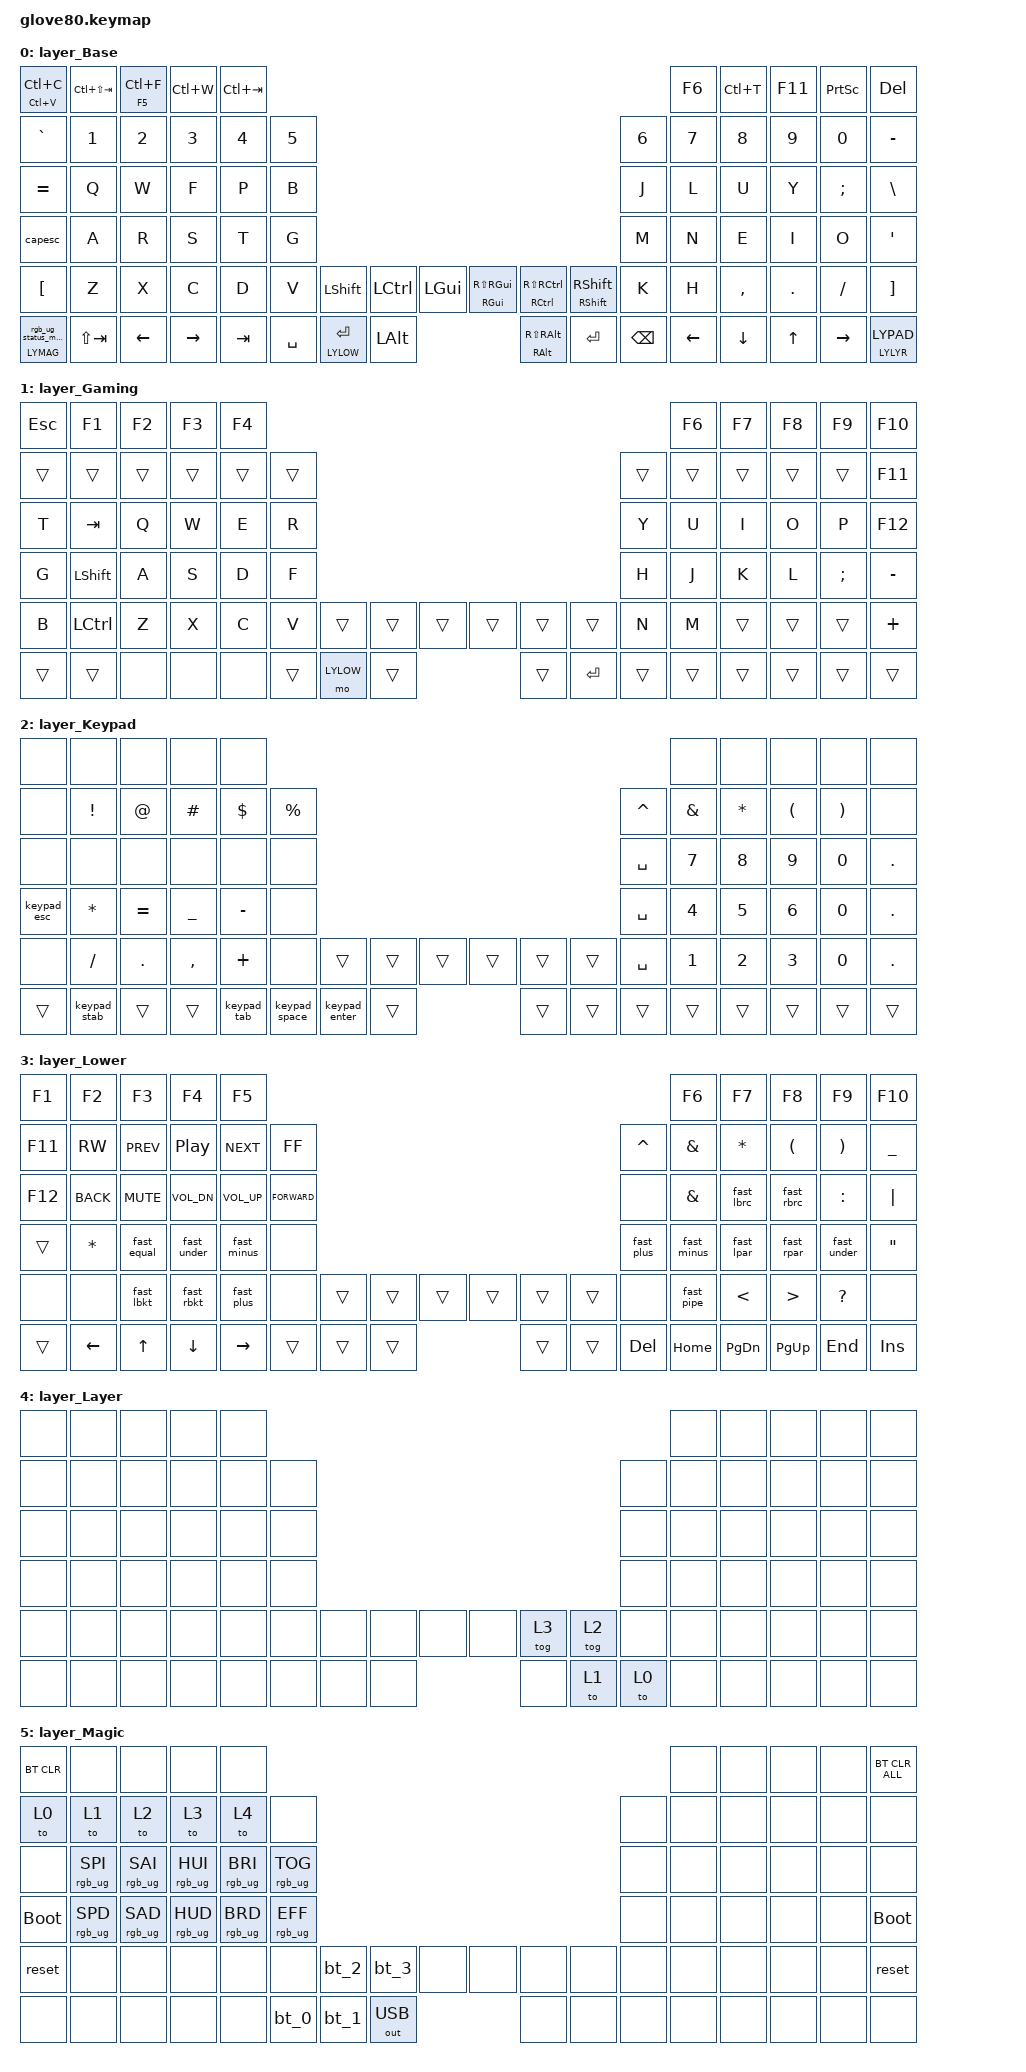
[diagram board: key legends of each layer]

/*
 * Copyright (c) 2020 The ZMK Contributors
 * Copyright (c) 2022 Innaworks Development Limited, trading as MoErgo
 *
 * SPDX-License-Identifier: MIT
 */


/* THIS FILE WAS GENERATED BY GLOVE80 LAYOUT EDITOR
 *
 * This file was generated automatically. You may or may not want to
 * edit it directly.
 */

#include <behaviors.dtsi>
/* Include all behaviour includes needed by system behaviors/macros */
#include <dt-bindings/zmk/outputs.h>

/* Include behaviour includes needed by key binds - automatically generated */
#include <dt-bindings/zmk/keys.h>
#include <dt-bindings/zmk/bt.h>
#include <dt-bindings/zmk/rgb.h>
#include <dt-bindings/zmk/outputs.h>


/ {
    /* Glove80 system behavior & macros */
    behaviors {
        // For the "layer" key, it'd nice to be able to use it as either a shift or a toggle.
        // Configure it as a tap dance, so the first tap (or hold) is a &mo and the second tap is a &to
        lower: tap_dance_0 {
            compatible = "zmk,behavior-tap-dance";
            label = "LAYER_TAP_DANCE";
            #binding-cells = <0>;
            tapping-term-ms = <200>;
            bindings = <&mo 1>, <&to 1>;
        };
    };
};

/ {
    macros {
        rgb_ug_status_macro: rgb_ug_status_macro_0 {
            label = "RGB_UG_STATUS";
            compatible = "zmk,behavior-macro";
            #binding-cells = <0>;
            bindings
                = <&rgb_ug RGB_STATUS>;
        };

        bt_0: bt_profile_macro_0 {
            label = "BT_0";
            compatible = "zmk,behavior-macro";
            #binding-cells = <0>;
            bindings
                = <&out OUT_BLE>,
                  <&bt BT_SEL 0>;
        };

        bt_1: bt_profile_macro_1 {
            label = "BT_1";
            compatible = "zmk,behavior-macro";
            #binding-cells = <0>;
            bindings
                = <&out OUT_BLE>,
                  <&bt BT_SEL 1>;
        };

        bt_2: bt_profile_macro_2 {
            label = "BT_2";
            compatible = "zmk,behavior-macro";
            #binding-cells = <0>;
            bindings
                = <&out OUT_BLE>,
                  <&bt BT_SEL 2>;
        };

        bt_3: bt_profile_macro_3 {
            label = "BT_3";
            compatible = "zmk,behavior-macro";
            #binding-cells = <0>;
            bindings
                = <&out OUT_BLE>,
                  <&bt BT_SEL 3>;
        };
    };
};

/ {
    magic: magic_hold_tap {
        compatible = "zmk,behavior-hold-tap";
        label = "MAGIC_HOLD_TAP";
        #binding-cells = <2>;
        flavor = "tap-preferred";
        tapping-term-ms = <200>;
        bindings = <&mo>, <&rgb_ug_status_macro>;
    };
};

    /* Custom Defined Behaviors */
/ {
    #define LYBAS 0
    #define LYGAM 1
    #define LYPAD 2
    #define LYLOW 3
    #define LYLYR 4
    #define LYMAG 5
    #define TD_TERM 200
    #define HT_TERM 200
    #define COMBO_TIME 50
    #define FAST_WAIT 1
    #define FAST_TAP 10

    #define TD_SHIFT_MOD(name, key) TD_DEFINE(name, <&kp key>, <&kp LS(key)>)
    #define TD_DEFINE(name, beh1, beh2) TD_DEFINE_1(td_##name, tap_##name, beh1, beh2)
    #define TD_DEFINE_1(shortname, longname, beh1, beh2) shortname: longname { \
        compatible = "zmk,behavior-tap-dance"; \
        label = #shortname; \
        #binding-cells = <0>; \
        tapping-term-ms = <TD_TERM>; \
        bindings = beh1, beh2; \
    };
    #define FAST_SYM(name, key) ZMK_MACRO(fast_##name, \
        wait-ms = <FAST_WAIT>; \
        tap-ms = <FAST_TAP>; \
        bindings = <&kp key>; \
    )
    #define HT_DEFINE(name, beh1, beh2) HT_DEFINE_1(ht_##name, behavior_ht_##name, beh1, beh2)
    #define HT_DEFINE_1(shortname, longname, beh1, beh2) \
        shortname: longname { \
            compatible = "zmk,behavior-hold-tap"; \
            label = #shortname; \
            #binding-cells = <2>; \
            flavor = "hold-preferred"; \
            tapping-term-ms = <HT_TERM>; \
            quick-tap-ms = <100>; \
            bindings = beh1, beh2; \
        };

    skq: sticky_key_quick_release {
        compatible = "zmk,behavior-sticky-key";
        label = "STICKY_KEY_QUICK_RELEASE";
        #binding-cells = <1>;
        bindings = <&kp>;
        release-after-ms = <1000>;
        quick-release;
        ignore-modifiers;
    };

    slpar: shift_lpar {
        compatible = "zmk,behavior-mod-morph";
        label = "SHIFT_LPAR";
        #binding-cells = <0>;
        bindings = <&kp LPAR>, <&kp RPAR>;
        mods = <(MOD_RSFT)>;
    };

    srpar: shift_rpar {
        compatible = "zmk,behavior-mod-morph";
        label = "SHIFT_RPAR";
        #binding-cells = <0>;
        bindings = <&kp RPAR>, <&kp LPAR>;
        mods = <(MOD_LSFT)>;
    };

    TD_SHIFT_MOD(gui, LGUI)
    TD_SHIFT_MOD(rgui, LGUI)
    TD_SHIFT_MOD(ctrl, LCTRL)
    TD_SHIFT_MOD(rctrl, RCTRL)
    TD_SHIFT_MOD(alt, LALT)
    TD_SHIFT_MOD(ralt, RALT)
    TD_DEFINE(caps_word, <&kp RSHFT>, <&caps_word>)
    TD_DEFINE(caps_lock, <&kp RSHFT>, <&kp CAPS>)
    TD_DEFINE(alt_sgui, <&kp LALT>, <&kp LS(LGUI)>)
    TD_DEFINE(rshft_lower, <&kp RSHFT>, <&mo 4>)
    FAST_SYM(lbkt, LBKT)
    FAST_SYM(rbkt, RBKT)
    FAST_SYM(lbrc, LBRC)
    FAST_SYM(rbrc, RBRC)
    FAST_SYM(lpar, LPAR)
    FAST_SYM(rpar, RPAR)
    FAST_SYM(equal, EQUAL)
    FAST_SYM(plus, PLUS)
    FAST_SYM(under, UNDER)
    FAST_SYM(minus, MINUS)
    FAST_SYM(bslh, BSLH)
    FAST_SYM(pipe, PIPE)
    FAST_SYM(grave, GRAVE)
    FAST_SYM(tilde, TILDE)
    FAST_SYM(sqt, SQT)
    FAST_SYM(dqt, DQT)
    HT_DEFINE(kp, <&kp>, <&kp>)
    HT_DEFINE(mo, <&mo>, <&kp>)
    HT_DEFINE(tog, <&kp>, <&tog>)
    HT_DEFINE(kp_sl, <&kp>, <&sl>)
    HT_DEFINE(skq, <&kp>, <&skq>)
    HT_DEFINE(mo_skq, <&mo>, <&skq>)
    HT_DEFINE(mo_sl, <&mo>, <&sl>)
    HT_DEFINE(mo_repeat, <&mo>, <&key_repeat>)
    HT_DEFINE(mo_tog, <&mo>, <&tog>)
    HT_DEFINE(lpar_cadet, <&kp>, <&slpar>)
    HT_DEFINE(rpar_cadet, <&kp>, <&srpar>)

    ZMK_MACRO(keypad_space,
        wait-ms = <FAST_WAIT>;
        tap-ms = <FAST_TAP>;
        bindings = <&kp SPACE>, <&tog LYPAD>;
    )
    ZMK_MACRO(keypad_enter,
        wait-ms = <FAST_WAIT>;
        tap-ms = <FAST_TAP>;
        bindings = <&kp ENTER>, <&tog LYPAD>;
    )
    ZMK_MACRO(keypad_tab,
        wait-ms = <FAST_WAIT>;
        tap-ms = <FAST_TAP>;
        bindings = <&kp TAB>, <&tog LYPAD>;
    )
    ZMK_MACRO(keypad_stab,
        wait-ms = <FAST_WAIT>;
        tap-ms = <FAST_TAP>;
        bindings = <&kp LS(TAB)>, <&tog LYPAD>;
    )
    ZMK_MACRO(keypad_esc,
        wait-ms = <FAST_WAIT>;
        tap-ms = <FAST_TAP>;
        bindings = <&kp ESC>, <&tog LYPAD>;
    )

    td_layers: tap_dance_layers {
        compatible = "zmk,behavior-tap-dance";
        label = "td_layers";
        #binding-cells = <0>;
        tapping-term-ms = <TD_TERM>;
        bindings = <&tog LYPAD>, <&tog LYGAM>;
    };

    captab: caps_tab {
        compatible = "zmk,behavior-mod-morph";
        label = "CAPS_TAB";
        #binding-cells = <0>;
        bindings = <&kp CAPS>, <&kp TAB>;
        mods = <(MOD_LSFT|MOD_RSFT|MOD_LCTL|MOD_RCTL|MOD_LALT|MOD_RALT|MOD_LGUI|MOD_RGUI)>;
        keep-mods = <(MOD_LSFT|MOD_RSFT|MOD_LCTL|MOD_RCTL|MOD_LALT|MOD_RALT|MOD_LGUI|MOD_RGUI)>;
    };

    capesc: caps_esc {
        compatible = "zmk,behavior-mod-morph";
        label = "CAPS_ESC";
        #binding-cells = <0>;
        bindings = <&kp ESC>, <&kp CAPS>;
        mods = <(MOD_LSFT|MOD_RSFT)>;
    };

    n8lpar: eight_lpar {
        compatible = "zmk,behavior-mod-morph";
        label = "EIGHT_LPAR";
        #binding-cells = <0>;
        bindings = <&kp N8>, <&kp LPAR>;
        mods = <(MOD_LSFT|MOD_RSFT)>;
    };

    n9rpar: nine_rpar {
        compatible = "zmk,behavior-mod-morph";
        label = "NINE_RPAR";
        #binding-cells = <0>;
        bindings = <&kp N9>, <&kp RPAR>;
        mods = <(MOD_LSFT|MOD_RSFT)>;
    };

    n0astrk: zero_astrk {
        compatible = "zmk,behavior-mod-morph";
        label = "ZERO_ASTRK";
        #binding-cells = <0>;
        bindings = <&kp N0>, <&kp ASTRK>;
        mods = <(MOD_LSFT|MOD_RSFT)>;
    };

    td_kp_tab: tap_dance_keypad_tab {
        compatible = "zmk,behavior-tap-dance";
        label = "td_keypad_tab";
        #binding-cells = <0>;
        tapping-term-ms = <TD_TERM>;
        bindings = <&keypad_tab>, <&kp TAB>;
    };

    td_kp_stab: tap_dance_keypad_stab {
        compatible = "zmk,behavior-tap-dance";
        label = "td_keypad_stab";
        #binding-cells = <0>;
        tapping-term-ms = <TD_TERM>;
        bindings = <&keypad_stab>, <&kp LS(TAB)>;
    };

    /* 0, 10, 22, 34, 46, 64, (80) */
    combos {
        compatible = "zmk,combos";
        // combo_space_enter {
        //     timeout-ms = <COMBO_TIME>;
        //     key-positions = <69 70>;
        //     bindings = <&mo LYLOW>;
        // };

        combo_caps {
            timeout-ms = <COMBO_TIME>;
            key-positions = <52 57>;
            bindings = <&kp CAPS>;
        };
    };

};

    /* Automatically generated keymap */
/ {
    keymap {
        compatible = "zmk,keymap";


        layer_Base {
            bindings = <
 &ht_kp LC(V) LC(C)  &kp LC(LS(TAB))  &ht_kp F5 LC(F)  &kp LC(W)  &kp LC(TAB)                                                                                                                                  &kp F6  &kp LC(T)  &kp F11  &kp PSCRN                 &kp DEL
          &kp GRAVE           &kp N1           &kp N2     &kp N3       &kp N4  &kp N5                                                                                                                &kp N6    &kp N7     &kp N8   &kp N9     &kp N0               &kp MINUS
          &kp EQUAL            &kp Q            &kp W      &kp F        &kp P   &kp B                                                                                                                 &kp J     &kp L      &kp U    &kp Y   &kp SEMI                &kp BSLH
            &capesc            &kp A            &kp R      &kp S        &kp T   &kp G                                                                                                                 &kp M     &kp N      &kp E    &kp I      &kp O                 &kp SQT
           &kp LBKT            &kp Z            &kp X      &kp C        &kp D   &kp V  &kp LSHFT           &kp LCTRL  &kp LGUI  &ht_skq RGUI RS(RGUI)  &ht_skq RCTRL RS(RCTRL)  &ht_skq RSHFT RSHFT   &kp K     &kp H  &kp COMMA  &kp DOT   &kp FSLH                &kp RBKT
     &magic LYMAG 0      &kp LS(TAB)         &kp LEFT  &kp RIGHT      &kp TAB          &kp SPACE  &ht_mo LYLOW ENTER  &kp LALT  &ht_skq RALT RS(RALT)                  &kp RET             &kp BSPC          &kp LEFT   &kp DOWN   &kp UP  &kp RIGHT  &ht_mo_tog LYLYR LYPAD
            >;
        };

        layer_Gaming {
            bindings = <
 &kp ESC     &kp F1  &kp F2  &kp F3  &kp F4                                                                      &kp F6  &kp F7  &kp F8    &kp F9    &kp F10
  &trans     &trans  &trans  &trans  &trans  &trans                                                      &trans  &trans  &trans  &trans    &trans    &kp F11
   &kp T    &kp TAB   &kp Q   &kp W   &kp E   &kp R                                                       &kp Y   &kp U   &kp I   &kp O     &kp P    &kp F12
   &kp G  &kp LSHFT   &kp A   &kp S   &kp D   &kp F                                                       &kp H   &kp J   &kp K   &kp L  &kp SEMI  &kp MINUS
   &kp B  &kp LCTRL   &kp Z   &kp X   &kp C   &kp V  &trans     &trans  &trans  &trans   &trans  &trans   &kp N   &kp M  &trans  &trans    &trans   &kp PLUS
  &trans     &trans   &none   &none   &none          &trans  &mo LYLOW  &trans  &trans  &kp RET  &trans          &trans  &trans  &trans    &trans     &trans
            >;
        };

        layer_Keypad {
            bindings = <
       &none         &none      &none      &none        &none                                                                                         &none     &none     &none     &none    &none
       &none      &kp EXCL     &kp AT   &kp HASH     &kp DLLR  &kp PRCNT                                                                &kp CARET  &kp AMPS  &kp STAR  &kp LPAR  &kp RPAR    &none
       &none         &none      &none      &none        &none      &none                                                                &kp SPACE    &kp N7    &kp N8    &kp N9    &kp N0  &kp DOT
 &keypad_esc      &kp STAR  &kp EQUAL  &kp UNDER    &kp MINUS      &none                                                                &kp SPACE    &kp N4    &kp N5    &kp N6    &kp N0  &kp DOT
       &none      &kp FSLH    &kp DOT  &kp COMMA     &kp PLUS      &none         &trans         &trans  &trans  &trans  &trans  &trans  &kp SPACE    &kp N1    &kp N2    &kp N3    &kp N0  &kp DOT
      &trans  &keypad_stab     &trans     &trans  &keypad_tab             &keypad_space  &keypad_enter  &trans  &trans  &trans  &trans               &trans    &trans    &trans    &trans   &trans
            >;
        };

        layer_Lower {
            bindings = <
  &kp F1      &kp F2       &kp F3        &kp F4        &kp F5                                                                                   &kp F6      &kp F7      &kp F8       &kp F9    &kp F10
 &kp F11    &kp C_RW   &kp C_PREV      &kp C_PP    &kp C_NEXT       &kp C_FF                                                    &kp CARET     &kp AMPS    &kp STAR    &kp LPAR     &kp RPAR  &kp UNDER
 &kp F12  &kp K_BACK   &kp C_MUTE  &kp C_VOL_DN  &kp C_VOL_UP  &kp K_FORWARD                                                        &none     &kp AMPS  &fast_lbrc  &fast_rbrc    &kp COLON   &kp PIPE
  &trans    &kp STAR  &fast_equal   &fast_under   &fast_minus          &none                                                   &fast_plus  &fast_minus  &fast_lpar  &fast_rpar  &fast_under    &kp DQT
   &none       &none   &fast_lbkt    &fast_rbkt    &fast_plus          &none  &trans  &trans  &trans  &trans  &trans   &trans       &none   &fast_pipe      &kp LT      &kp GT    &kp QMARK      &none
  &trans    &kp LEFT       &kp UP      &kp DOWN     &kp RIGHT                 &trans  &trans  &trans  &trans  &trans  &kp DEL                 &kp HOME   &kp PG_DN   &kp PG_UP      &kp END    &kp INS
            >;
        };

        layer_Layer {
            bindings = <
  &none   &none   &none   &none   &none                                                                   &none   &none   &none   &none   &none
  &none   &none   &none   &none   &none   &none                                                   &none   &none   &none   &none   &none   &none
  &none   &none   &none   &none   &none   &none                                                   &none   &none   &none   &none   &none   &none
  &none   &none   &none   &none   &none   &none                                                   &none   &none   &none   &none   &none   &none
  &none   &none   &none   &none   &none   &none   &none   &none   &none   &none  &tog 3  &tog 2   &none   &none   &none   &none   &none   &none
  &none   &none   &none   &none   &none           &none   &none   &none   &none   &to 1   &to 0           &none   &none   &none   &none   &none
            >;
        };

        layer_Magic {
            bindings = <
  &bt BT_CLR            &none            &none            &none            &none                                                                                  &none   &none   &none   &none  &bt BT_CLR_ALL
       &to 0            &to 1            &to 2            &to 3            &to 4            &none                                                         &none   &none   &none   &none   &none           &none
       &none  &rgb_ug RGB_SPI  &rgb_ug RGB_SAI  &rgb_ug RGB_HUI  &rgb_ug RGB_BRI  &rgb_ug RGB_TOG                                                         &none   &none   &none   &none   &none           &none
 &bootloader  &rgb_ug RGB_SPD  &rgb_ug RGB_SAD  &rgb_ug RGB_HUD  &rgb_ug RGB_BRD  &rgb_ug RGB_EFF                                                         &none   &none   &none   &none   &none     &bootloader
      &reset            &none            &none            &none            &none            &none   &bt_2   &bt_3         &none   &none   &none   &none   &none   &none   &none   &none   &none          &reset
       &none            &none            &none            &none            &none                    &bt_0   &bt_1  &out OUT_USB   &none   &none   &none           &none   &none   &none   &none           &none
            >;
        };

    };
};
